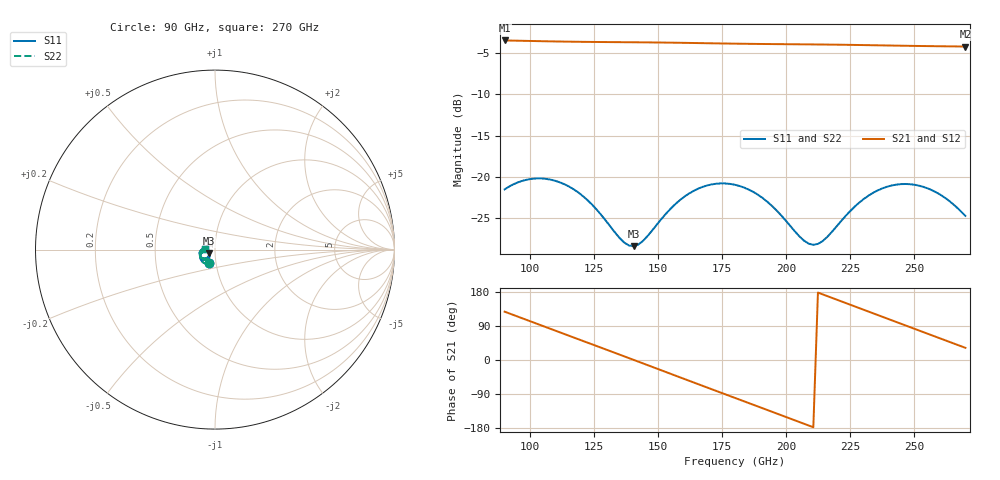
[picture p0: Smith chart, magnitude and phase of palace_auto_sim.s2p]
#  GHZ S DB R 50
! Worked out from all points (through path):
!   101 points, 90 GHz to 270 GHz, reference 50 ohm
!   highest |S21| = -3.44 dB at 90 GHz (marker M1); lowest = -4.2 dB at 270 GHz (marker M2)
!   group delay of S21, straight-line fit = 7.03 ps
!   lowest |S11| = -28.4 dB at 140.4 GHz (marker M3), VSWR 1.08, Z = 46.9 - j1.95 ohm
!   |S11| at or under -10 dB: start of sweep to end of sweep
!   |S22| runs from -28.3 to -20.2 dB; largest |S21 - S12| = 7.6e-14
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90  -21.54 -114.9  -3.44 127.6  -3.44 127.6  -21.52 -114.6
97.2  -20.48 -126.9  -3.49 109.3  -3.49 109.3  -20.46 -126.6
104.4  -20.22 -140.0  -3.53 91.1  -3.53 91.1  -20.19 -139.7
111.6  -20.69 -152.7  -3.57 73.0  -3.57 73.0  -20.66 -152.4
120.6  -22.37 -166.0  -3.61 50.3  -3.61 50.3  -22.32 -165.6
131.4  -26.10 -169.5  -3.64 23.1  -3.64 23.1  -26.01 -169.1
140.4  -28.45 -146.7  -3.66 0.3  -3.66 0.3  -28.33 -146.7
151.2  -25.17 -125.3  -3.70 -27.1  -3.70 -27.1  -25.12 -125.6
165.6  -21.46 -137.9  -3.76 -63.7  -3.76 -63.7  -21.43 -138.0
172.8  -20.85 -148.9  -3.80 -81.9  -3.80 -81.9  -20.83 -149.0
180  -20.99 -160.3  -3.83 -100.1  -3.83 -100.1  -20.96 -160.3
187.2  -21.86 -170.6  -3.86 -118.3  -3.86 -118.3  -21.83 -170.5
196.2  -24.09 -178.7  -3.89 -141.0  -3.89 -141.0  -24.03 -178.6
203.4  -26.65 -175.5  -3.91 -159.2  -3.91 -159.2  -26.56 -175.5
210.6  -28.28 -156.8  -3.93 -177.5  -3.93 -177.5  -28.17 -157.2
217.8  -26.73 -137.8  -3.95 164.2  -3.95 164.2  -26.67 -138.4
225  -24.18 -134.1  -3.98 145.9  -3.98 145.9  -24.16 -134.6
234  -21.95 -141.7  -4.02 123.1  -4.02 123.1  -21.95 -142.1
241.2  -21.07 -151.4  -4.06 104.9  -4.06 104.9  -21.07 -151.8
248.4  -20.92 -162.1  -4.10 86.7  -4.10 86.7  -20.93 -162.4
255.6  -21.46 -172.3  -4.13 68.5  -4.13 68.5  -21.49 -172.6
270  -24.77 176.5  -4.18 32.1  -4.18 32.1  -24.85 176.2
